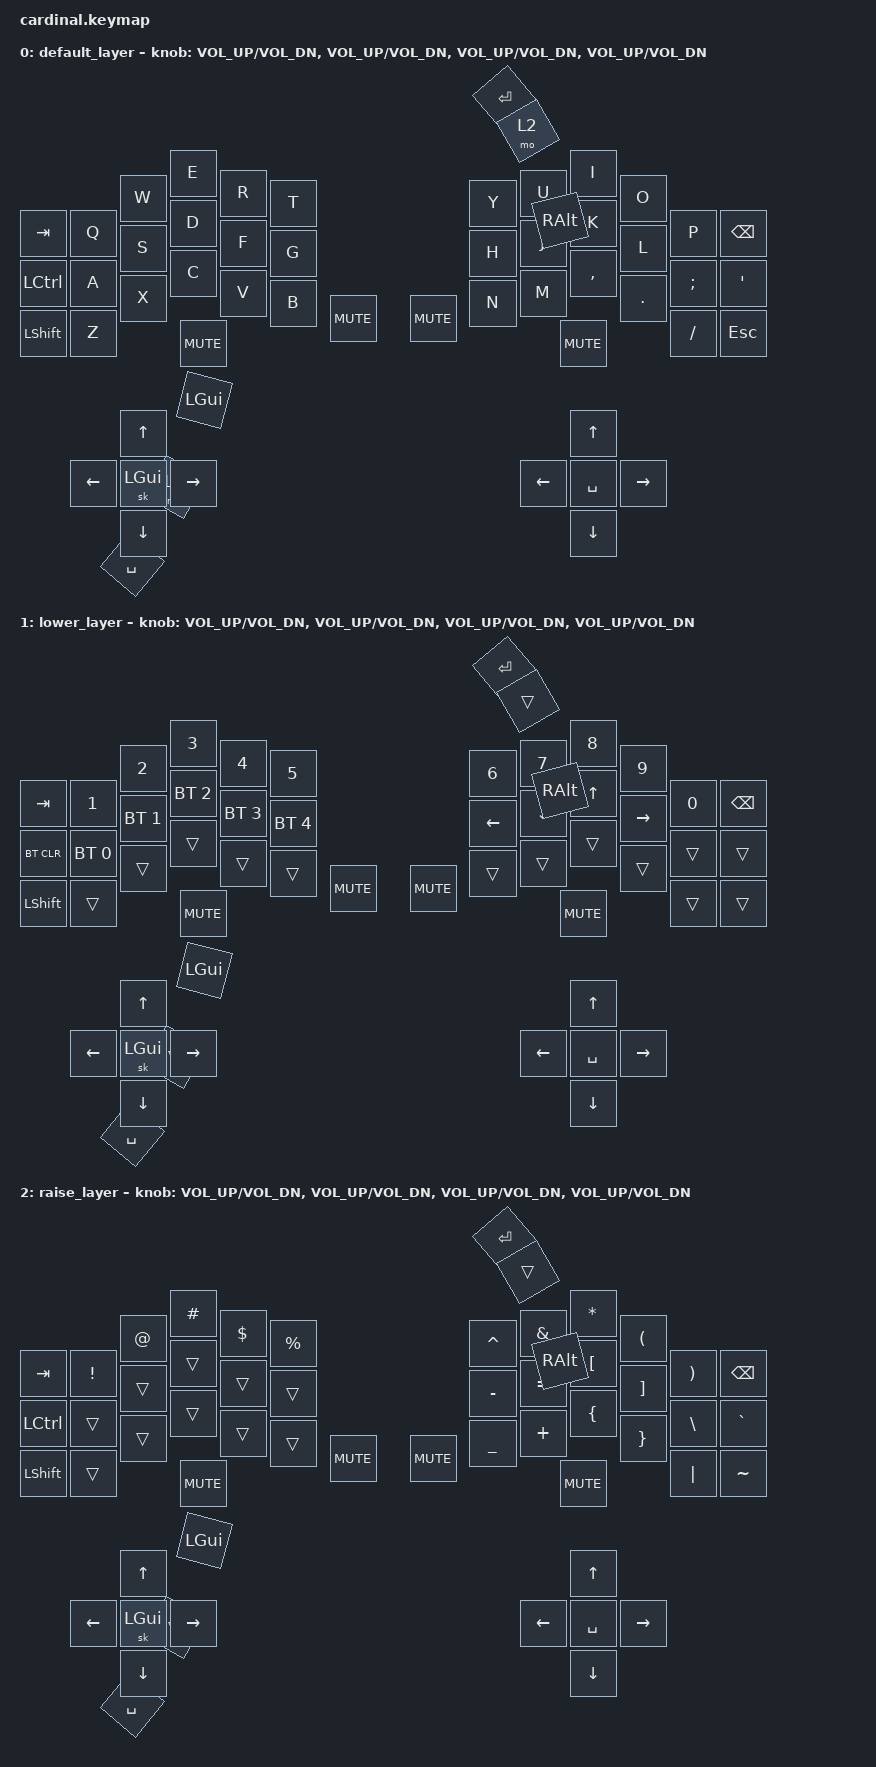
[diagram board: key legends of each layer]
#include <behaviors.dtsi>
#include <dt-bindings/zmk/keys.h>
#include <dt-bindings/zmk/bt.h>

// This is a base keymap intended for the keyboard to "just work" oftb, with nothing fancy and most keys available, based on
// corne default layout and adding encoders and 5-way switches, on all layers they work as volume up/down and mute and as a joystick with the center being space
// this is not efficient but should be used as a starting point for your own keymap.
// If you are considering the use of ZMK Studio you will need to add the &studio_unlock somewere in your layout.

/ {
    keymap {

        compatible = "zmk,keymap";
        default_layer {
            // -----------------------------------------------------------------------------------------
            // |  TAB |  Q  |  W  |  E  |  R  |  T  |                 |  Y  |  U   |  I  |  O  |  P  | BKSP |
            // | CTRL |  A  |  S  |  D  |  F  |  G  |                 |  H  |  J   |  K  |  L  |  ;  |  '   |
            // | SHFT |  Z  |  X  |  C  |  V  |  B  | MUTE |   | MUTE |  N  |  M   |  ,  |  .  |  /  | ESC  |
            //                     MUTE | GUI | LWR | SPC  |   |  ENT | RSE | ALT  | MUTE
            bindings = <
                &kp TAB   &kp Q &kp W &kp E      &kp R    &kp T                       &kp Y &kp U    &kp I      &kp O   &kp P    &kp BSPC
                &kp LCTRL &kp A &kp S &kp D      &kp F    &kp G                       &kp H &kp J    &kp K      &kp L   &kp SEMI &kp SQT
                &kp LSHFT &kp Z &kp X &kp C      &kp V    &kp B &kp C_MUTE &kp C_MUTE &kp N &kp M    &kp COMMA  &kp DOT &kp FSLH &kp ESC
                                      &kp C_MUTE &kp LGUI &mo 1 &kp SPACE  &kp RET    &mo 2 &kp RALT &kp C_MUTE
                                      &kp UP                                                         &kp UP
                             &kp LEFT &sk LGUI  &kp RIGHT                                  &kp LEFT  &kp SPACE  &kp RIGHT
                                      &kp DOWN                                                       &kp DOWN
            >;
            sensor-bindings = < 
                &inc_dec_kp C_VOL_UP C_VOL_DN 
                &inc_dec_kp C_VOL_UP C_VOL_DN
                &inc_dec_kp C_VOL_UP C_VOL_DN 
                &inc_dec_kp C_VOL_UP C_VOL_DN
                        
             >;
        };
        lower_layer {
            // -----------------------------------------------------------------------------------------
            // |  TAB |  1  |  2  |  3  |  4  |  5  |                 |  6  |  7  |  8  |  9  |  0  | BKSP |
            // | BTCLR| BT1 | BT2 | BT3 | BT4 | BT5 |                 | LFT | DWN |  UP | RGT |     |      |
            // | SHFT |     |     |     |     |     | MUTE |   | MUTE |     |     |     |     |     |      |
            //                     MUTE | GUI |     | SPC  |   |  ENT |     | ALT | MUTE
            bindings = <
                &kp TAB    &kp N1       &kp N2       &kp N3       &kp N4       &kp N5                             &kp N6   &kp N7   &kp N8     &kp N9    &kp N0 &kp BSPC
                &bt BT_CLR &bt BT_SEL 0 &bt BT_SEL 1 &bt BT_SEL 2 &bt BT_SEL 3 &bt BT_SEL 4                       &kp LEFT &kp DOWN &kp UP     &kp RIGHT &trans &trans
                &kp LSHFT  &trans       &trans       &trans       &trans       &trans       &kp C_MUTE &kp C_MUTE &trans   &trans   &trans     &trans    &trans &trans
                                                     &kp C_MUTE   &kp LGUI     &trans       &kp SPACE  &kp RET    &trans   &kp RALT &kp C_MUTE
                                                     &kp UP                                                                         &kp UP
                                            &kp LEFT &sk LGUI  &kp RIGHT                                                  &kp LEFT  &kp SPACE  &kp RIGHT
                                                     &kp DOWN                                                                       &kp DOWN

            >;
            sensor-bindings = < 
                &inc_dec_kp C_VOL_UP C_VOL_DN 
                &inc_dec_kp C_VOL_UP C_VOL_DN
                &inc_dec_kp C_VOL_UP C_VOL_DN 
                &inc_dec_kp C_VOL_UP C_VOL_DN
                        
             >;
        };

        raise_layer {
            // -----------------------------------------------------------------------------------------
            // |  TAB |  !  |  @  |  #  |  $  |  %  |                 |  ^  |  &  |  *  |  (  |  )  | BKSP |
            // | CTRL |     |     |     |     |     |                 |  -  |  =  |  [  |  ]  |  \  |  `   |
            // | SHFT |     |     |     |     |     | MUTE |   | MUTE |  _  |  +  |  {  |  }  | "|" |  ~   |
            //                     MUTE | GUI |     | SPC |     | ENT |     | ALT | MUTE
            bindings = <
                &kp  TAB  &kp EXCL &kp AT &kp HASH   &kp DLLR &kp PRCNT                         &kp CARET &kp AMPS  &kp ASTRK &kp LPAR &kp RPAR &kp BSPC
                &kp LCTRL &trans   &trans &trans     &trans   &trans                            &kp MINUS &kp EQUAL &kp LBKT  &kp RBKT &kp BSLH &kp GRAVE
                &kp LSHFT &trans   &trans &trans     &trans   &trans    &kp C_MUTE  &kp C_MUTE  &kp UNDER &kp PLUS  &kp LBRC  &kp RBRC &kp PIPE &kp TILDE
                                          &kp C_MUTE &kp LGUI &trans    &kp SPACE   &kp RET     &trans    &kp RALT  &kp C_MUTE
                                          &kp UP                                                                    &kp UP
                                 &kp LEFT &sk LGUI  &kp RIGHT                                             &kp LEFT  &kp SPACE  &kp RIGHT
                                          &kp DOWN                                                                  &kp DOWN

            >;
            sensor-bindings = < 
                &inc_dec_kp C_VOL_UP C_VOL_DN 
                &inc_dec_kp C_VOL_UP C_VOL_DN
                &inc_dec_kp C_VOL_UP C_VOL_DN 
                &inc_dec_kp C_VOL_UP C_VOL_DN
                        
             >;
        };
    };
};




                                              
